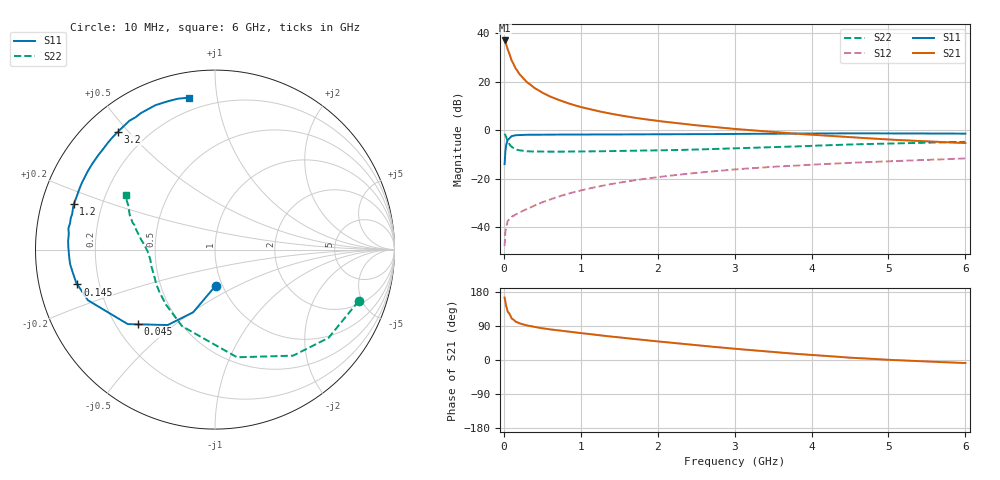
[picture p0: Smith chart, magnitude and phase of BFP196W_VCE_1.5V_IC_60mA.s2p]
! (c) 2016  Infineon Technologies AG, Munich
! Infineon Technologies  Discrete & RF Semiconductors
! BFP196W
! VCE = 1.5 V,  IC =  60mA
! Common Emitter S-Parameters:  Jan 2016
# GHz  S  MA  R  50
!  f  S11  S21  S12  S22
! GHz  MAG  ANG  MAG  ANG  MAG  ANG  MAG  ANG
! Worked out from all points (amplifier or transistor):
!   210 points, 10 MHz to 6 GHz, reference 50 ohm
!   highest |S21| = 37.1 dB at 10 MHz (marker M1)
!   |S21| within 3 dB of that: start of sweep to 43.81 MHz
!   unconditionally stable (mu >= 1): 492.1 MHz to 3.429 GHz
!   at 185 MHz: K = 0.64, MSG = 29.2 dB, |S12| = -34.2 dB
!   at 1.52 GHz: K = 1.12, MAG = 11.7 dB, |S12| = -21.5 dB
!   at 6 GHz: K = 0.99, MSG = 3.2 dB, |S12| = -11.6 dB
!   S11 on the Smith chart (normalised r, x): 10 MHz: 0.93, -0.39; 45 MHz: 0.29, -0.38; 145 MHz: 0.12, -0.12; 1.2 GHz: 0.10, +0.16; 3.2 GHz: 0.10, +0.47; 6 GHz: 0.13, +0.84
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0.01  0.2018 -89.1  71.67 164.7  0.0041 74.0  0.8503 -19.6
0.02  0.37 -109.2  67.29 153.1  0.008 66.7  0.8014 -37.8
0.03  0.4953 -122.0  60.44 142.7  0.0101 58.0  0.7341 -53.6
0.045  0.5986 -135.9  49.97 132.1  0.0126 50.2  0.6307 -71.4
0.05  0.6391 -139.5  46.97 127.6  0.0135 48.3  0.6125 -78.4
0.1  0.7625 -158.3  28 109.9  0.0164 38.7  0.4646 -113.3
0.145  0.791 -165.8  20.23 102.7  0.0181 39.8  0.4139 -129.7
0.15  0.795 -166.6  19.39 101.5  0.0183 39.9  0.4106 -131.7
0.2  0.8041 -171.4  14.72 97.0  0.02 43.9  0.3897 -142.5
0.24  0.81 -173.8  12.47 94.4  0.0216 45.7  0.3818 -147.8
0.3  0.8133 -176.9  9.889 91.2  0.0238 48.8  0.3712 -154.5
0.4  0.8171 179.4  7.467 87.1  0.0282 53.3  0.3672 -160.6
0.6  0.819 174.0  5.009 80.8  0.0377 59.1  0.365 -167.8
0.8  0.8208 169.7  3.785 75.7  0.0477 61.9  0.3652 -171.4
1.02  0.8208 165.6  2.983 70.6  0.0587 62.8  0.3682 -174.3
1.2  0.8267 162.2  2.549 66.3  0.0682 62.8  0.3706 -175.9
2.02  0.8327 148.1  1.557 48.7  0.1099 58.8  0.3876 178.0
3.1  0.8485 131.0  1.044 28.0  0.161 49.0  0.431 169.4
3.2  0.8509 129.5  1.015 26.2  0.1653 48.0  0.4358 168.6
4.1  0.8657 117.3  0.798 12.0  0.2004 39.9  0.4877 161.2
5.1  0.8666 106.8  0.637 -0.4  0.234 31.5  0.5415 153.1
6  0.8588 99.7  0.549 -8.0  0.2637 25.0  0.5809 148.4
